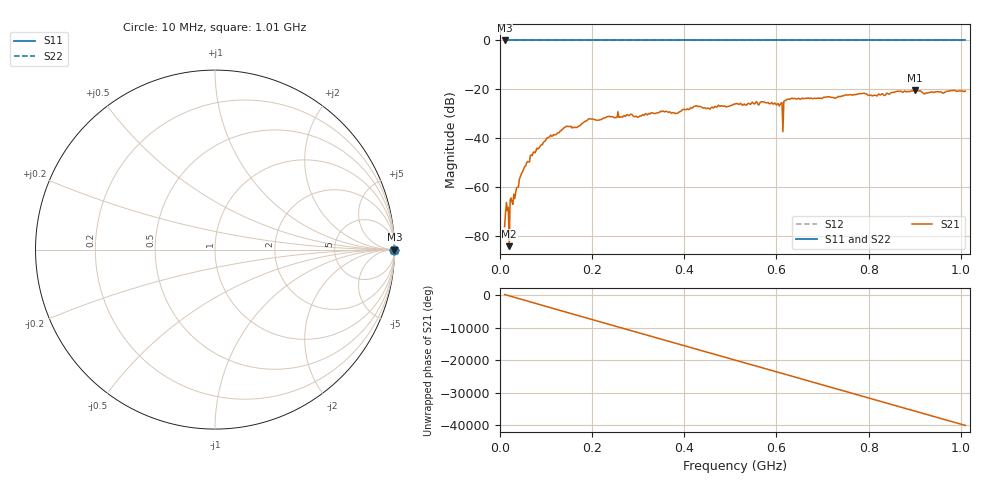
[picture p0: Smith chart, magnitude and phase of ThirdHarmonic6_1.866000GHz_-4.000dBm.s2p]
! 8/16/2025 10:33:27 PM
! C:\ANRITSUVNA\TEMP\TEMP.S2P
! CHANNEL.1
! TR.MEASUREMENT
! RAW.DATA
! RF.CORRECTION.OFF
! AVERAGING.OFF
! IF.BANDWIDTH: 5KHZ
! SWEEPTYPE:  FREQ.SWEEP(Linear)
! Reference Plane Port Info
! PORT:  PORT1  PORT2
! DISTANCE:  0  m  0  m
! TIME:  0  s  0  s
! PHASE.OFFSET:  0  deg.  0  deg.
! LOSS:  0  dB  0  dB
! REF.LOSS:  0  dB  0  dB
! REF.FREQ:  0  Hz  0  Hz
! Power Info
! POWER:  -20  dBm  -20  dBm
! EFF.POWER:  -20  dBm  -20  dBm
! SOURCE.ATTEN:  0  dB  0  dB
! TEST.ATTEN:  0  dB  0  dB
# GHZ S RI R 50.0
! FREQ.GHZ  S11RE  S11IM  S21RE  S21IM  S12RE  S12IM  S22RE  S22IM
!; PortSelection: Port_12
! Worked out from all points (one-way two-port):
!   501 points, 10 MHz to 1.01 GHz, reference 50 ohm
!   highest |S21| = -20.33 dB at 900 MHz (marker M1); lowest = -84.1 dB at 20 MHz (marker M2)
!   lowest |S11| = 0.0 dB at 10 MHz (marker M3)
!   |S11| at or under -10 dB: nowhere
!   |S22| runs from 0.0 to 0.0 dB; largest |S21 - S12| = 1.1
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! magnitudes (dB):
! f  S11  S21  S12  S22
! 10 MHz  0.0  -76.1  0.0  0.0
! 14 MHz  0.0  -66.2  0.0  0.0
! 20 MHz  0.0  -84.1  0.0  0.0
! 24 MHz  0.0  -64.4  0.0  0.0
! 26 MHz  0.0  -66.0  0.0  0.0
! 30 MHz  0.0  -62.8  0.0  0.0
! 46 MHz  0.0  -54.6  0.0  0.0
! 70 MHz  0.0  -47.1  0.0  0.0
! 106 MHz  0.0  -39.6  0.0  0.0
! 142 MHz  0.0  -35.4  0.0  0.0
! 178 MHz  0.0  -34.0  0.0  0.0
! 196 MHz  0.0  -32.1  0.0  0.0
! 344 MHz  0.0  -29.5  0.0  0.0
! 510 MHz  0.0  -26.0  0.0  0.0
! 608 MHz  0.0  -26.2  0.0  0.0
! 610 MHz  0.0  -25.6  0.0  0.0
! 618 MHz  0.0  -24.6  0.0  0.0
! 622 MHz  0.0  -24.3  0.0  0.0
! 678 MHz  0.0  -23.8  0.0  0.0
! 844 MHz  0.0  -22.0  0.0  0.0
! 900 MHz  0.0  -20.3  0.0  0.0
! 1.01 GHz  0.0  -20.7  0.0  0.0
